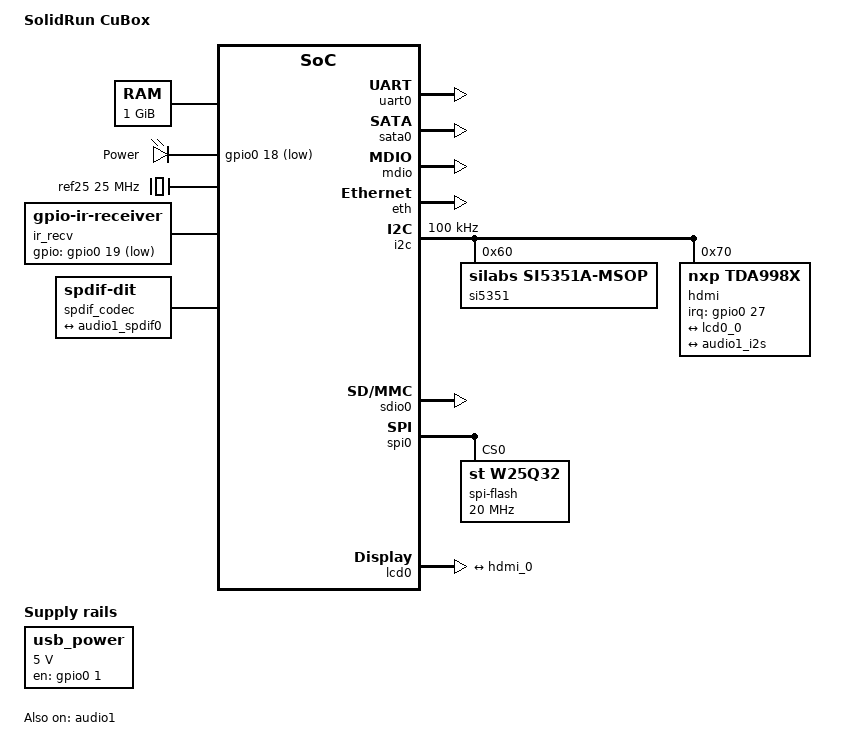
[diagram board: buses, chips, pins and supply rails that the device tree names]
/dts-v1/;

#include "dove.dtsi"
#include <dt-bindings/interrupt-controller/irq.h>

/ {
	model = "SolidRun CuBox";
	compatible = "solidrun,cubox", "marvell,dove";

	memory {
		device_type = "memory";
		reg = <0x00000000 0x40000000>;
	};

	chosen {
		bootargs = "console=ttyS0,115200n8 earlyprintk";
	};

	leds {
		compatible = "gpio-leds";
		pinctrl-0 = <&pmx_gpio_18>;
		pinctrl-names = "default";

		power {
			label = "Power";
			gpios = <&gpio0 18 1>;
			default-state = "keep";
		};
	};

	regulators {
		compatible = "simple-bus";
		#address-cells = <1>;
		#size-cells = <0>;

		usb_power: regulator@1 {
			compatible = "regulator-fixed";
			reg = <1>;
			regulator-name = "USB Power";
			regulator-min-microvolt = <5000000>;
			regulator-max-microvolt = <5000000>;
			enable-active-high;
			regulator-always-on;
			regulator-boot-on;
			gpio = <&gpio0 1 0>;
			pinctrl-0 = <&pmx_gpio_1>;
			pinctrl-names = "default";
		};
	};

	clocks {
		/* 25MHz reference crystal */
		ref25: oscillator {
			compatible = "fixed-clock";
			#clock-cells = <0>;
			clock-frequency = <25000000>;
		};
	};

	ir_recv: ir-receiver {
		compatible = "gpio-ir-receiver";
		gpios = <&gpio0 19 1>;
		pinctrl-0 = <&pmx_gpio_19>;
		pinctrl-names = "default";
	};
	spdif_codec: spdif-codec {		/* optical output */
		compatible = "linux,spdif-dit";
		port {
			port-type = "spdif";
			spdif_out: endpoint {
				remote-endpoint = <&audio1_spdif0>;
			};
		};
	};

	video {
		compatible = "marvell,dove-video";
		marvell,video-devices = <&lcd0>;
	};
};

&uart0 { status = "okay"; };
&sata0 { status = "okay"; };
&mdio { status = "okay"; };
&eth { status = "okay"; };

&ethphy {
	compatible = "marvell,88e1310";
	reg = <1>;
};

&i2c {
//	status = "okay";
	clock-frequency = <100000>;

	si5351: clock-generator {
		compatible = "silabs,si5351a-msop";
		reg = <0x60>;
		#address-cells = <1>;
		#size-cells = <0>;
		#clock-cells = <1>;

		/* connect xtal input to 25MHz reference */
		clocks = <&ref25>;
		clock-names = "xtal";

		/* connect xtal input as source of pll0 and pll1 */
		silabs,pll-source = <0 0>, <1 0>;

		clkout0 {
			reg = <0>;
			silabs,drive-strength = <8>;
			silabs,multisynth-source = <0>;
			silabs,clock-source = <0>;
			silabs,pll-master;
		};

		clkout2 {
			reg = <2>;
			silabs,drive-strength = <8>;
			silabs,multisynth-source = <1>;
			silabs,clock-source = <0>;
			silabs,pll-master;
		};
	};
	hdmi: hdmi-encoder {
		compatible = "nxp,tda998x";
		reg = <0x70>;
		interrupt-parent = <&gpio0>;
		interrupts = <27 IRQ_TYPE_EDGE_FALLING>;
		pinctrl-0 = <&pmx_camera>;
		pinctrl-names = "default";
		#address-cells = <1>;
		#size-cells = <0>;
		port@230145 {
			port-type = "rgb";
			reg = <0x230145>;
			hdmi_0: endpoint {
				remote-endpoint = <&lcd0_0>;
			};
		};
		port@3 {			/* AP1 = I2S */
			port-type = "i2s";
			reg = <0x03>;
			tda998x_i2s: endpoint {
				remote-endpoint = <&audio1_i2s>;
			};
		};
	};
};

&sdio0 {
	status = "okay";
};

&spi0 {
	status = "okay";

	/* spi0.0: 4M Flash Winbond W25Q32BV */
	spi-flash@0 {
		compatible = "st,w25q32";
		spi-max-frequency = <20000000>;
		reg = <0>;
	};
};

&audio1 {
	status = "okay";
	clocks = <&gate_clk 13>, <&si5351 2>;
	clock-names = "internal", "extclk";
//	clocks = <&gate_clk 13>;
//	clock-names = "internal";
	pinctrl-0 = <&pmx_audio1_i2s1_spdifo &pmx_audio1_extclk>;
	pinctrl-names = "default";
	#address-cells = <1>;
	#size-cells = <0>;
	dt-audio-card,format = "i2s";
	port@0 {
		port-type = "spdif";
		audio1_spdif0: endpoint@0 {
			remote-endpoint = <&spdif_out>;
		};
	};
	port@1 {
		port-type = "i2s";
		audio1_i2s: endpoint {
			remote-endpoint = <&tda998x_i2s>;
		};
	};
};

&lcd0 {
	status = "okay";
	clocks = <&si5351 0>;
	clock-names = "ext_ref_clk1";
// (same as plldivider)
//	clocks = <&core_clk 3>;
//	clock-names = "axibus";
	port {
		lcd0_0: endpoint {
			remote-endpoint = <&hdmi_0>;
		};
	};
};
